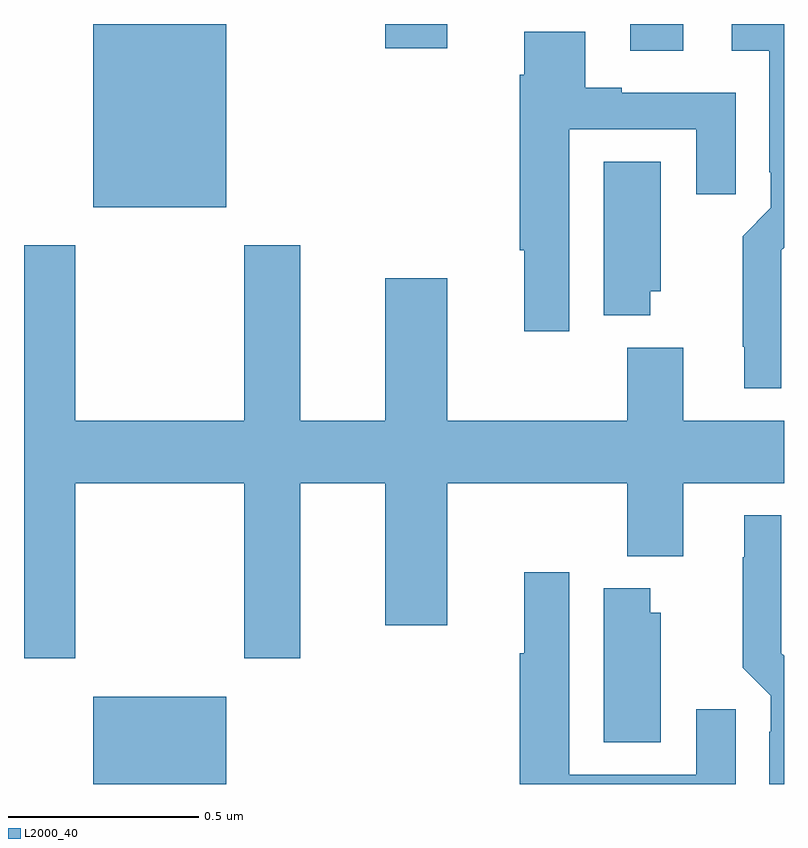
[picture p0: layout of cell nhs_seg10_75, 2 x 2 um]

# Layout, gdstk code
import gdstk
lib = gdstk.Library(unit=1e-6, precision=1e-09)
def R(c, l, rs):  # rectangles x0, y0, x1, y1
    for r in rs: c.add(gdstk.rectangle(r[:2], r[2:], *l))
def P(c, l, *ps):  # polygons
    for p in ps: c.add(gdstk.Polygon(p, *l))
L2000_40 = (2000, 40)

nhs_seg10_75 = lib.new_cell('nhs_seg10_75')
R(nhs_seg10_75, L2000_40, [(111.182,1323.5,111.532,1323.73), (111.182,1325.018,111.532,1325.5), (112.595,1325.43,112.735,1325.5), (111.95,1325.436,112.114,1325.5)])
P(nhs_seg10_75, L2000_40, [(112.993,1324.904),(113,1324.911),(113,1325.5),(112.863,1325.5),(112.863,1325.429),(112.961,1325.429),(112.961,1325.11),(112.965,1325.11),(112.965,1325.016),(112.891,1324.942),(112.891,1324.651),(112.895,1324.651),(112.895,1324.541),(112.993,1324.541)],
  [(112.435,1325.223),(112.769,1325.223),(112.769,1325.052),(112.873,1325.052),(112.873,1325.319),(112.573,1325.319),(112.573,1325.332),(112.477,1325.332),(112.477,1325.479),(112.316,1325.479),(112.316,1325.366),(112.304,1325.366),(112.304,1324.904),(112.316,1324.904),(112.316,1324.692),(112.435,1324.692)],
  [(112.648,1324.797),(112.675,1324.797),(112.675,1325.138),(112.526,1325.138),(112.526,1324.733),(112.648,1324.733)],
  [(111.135,1324.292),(111.58,1324.292),(111.58,1323.831),(111.727,1323.831),(111.727,1324.292),(111.95,1324.292),(111.95,1323.918),(112.114,1323.918),(112.114,1324.292),(112.588,1324.292),(112.588,1324.1),(112.735,1324.1),(112.735,1324.292),(113,1324.292),(113,1324.456),(112.735,1324.456),(112.735,1324.648),(112.588,1324.648),(112.588,1324.456),(112.114,1324.456),(112.114,1324.831),(111.95,1324.831),(111.95,1324.456),(111.727,1324.456),(111.727,1324.918),(111.58,1324.918),(111.58,1324.456),(111.135,1324.456),(111.135,1324.918),(111,1324.918),(111,1323.831),(111.135,1323.831)],
  [(113,1323.837),(112.993,1323.844),(112.993,1324.207),(112.895,1324.207),(112.895,1324.097),(112.891,1324.097),(112.891,1323.806),(112.965,1323.732),(112.965,1323.638),(112.961,1323.638),(112.961,1323.5),(113,1323.5)],
  [(112.873,1323.697),(112.769,1323.697),(112.769,1323.525),(112.435,1323.525),(112.435,1324.057),(112.316,1324.057),(112.316,1323.844),(112.304,1323.844),(112.304,1323.5),(112.873,1323.5)],
  [(112.675,1323.951),(112.648,1323.951),(112.648,1324.015),(112.526,1324.015),(112.526,1323.61),(112.675,1323.61)])

lib.write_gds('nhs_seg10_75.gds')
